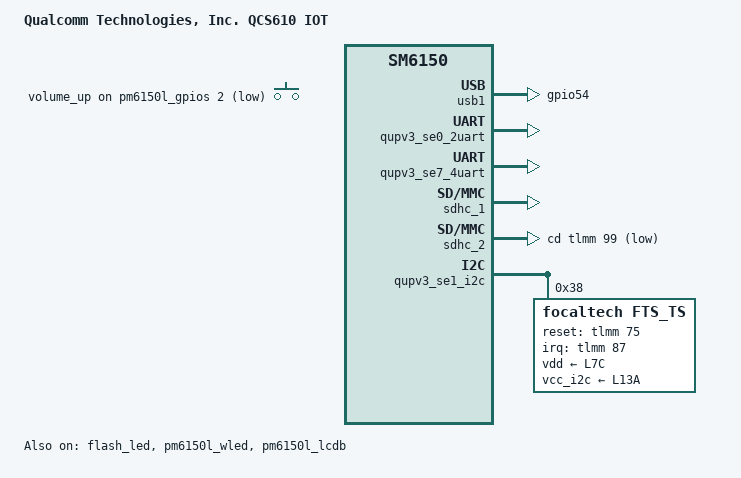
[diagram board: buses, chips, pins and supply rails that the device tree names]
#include <dt-bindings/gpio/gpio.h>
#include <dt-bindings/iio/qcom,spmi-vadc.h>
#include <dt-bindings/input/input.h>

#include <dt-bindings/clock/qcom,rpmh.h>
#include <dt-bindings/clock/qcom,gcc-sm6150.h>
#include <dt-bindings/clock/qcom,camcc-sm6150.h>
#include <dt-bindings/clock/qcom,dispcc-sm6150.h>
#include <dt-bindings/clock/qcom,gpucc-sm6150.h>
#include <dt-bindings/iio/qti_power_supply_iio.h>

#include "camera/qcs610-camera-sensor-idp.dtsi"

#include "sm6150-audio.dtsi"
#include "sm6150-ext-codec-audio-overlay.dtsi"
#include "sm6150-external-codec.dtsi"

/ {
	model = "Qualcomm Technologies, Inc. QCS610 IOT";
	compatible = "qcom,qcs610-iot", "qcom,qcs610", "qcom,iot";
	qcom,board-id = <32 0>;
};

&pm6150l_gpios {
	key_vol_up {
		key_vol_up_default: key_vol_up_default {
			pins = "gpio2";
			function = "normal";
			input-enable;
			bias-pull-up;
			power-source = <0>;
		};
	};

	irled {
		irled_pwm: irled_pwm_default {
			pins = "gpio6";
			function = "func1";
			qcom,drive-strength = <2>;
			power-source = <0>;
			bias-disable;
			output-low;
		};
	};

	cam_sensor_dvdd_en: cam_sensor_dvdd_en {
		pins = "gpio3";
		function = "normal";
		power-source = <0>;
		output-low;
	};

	cam_sensor_0_vana: cam_sensor_0_vana {
		pins = "gpio9";
		function = "normal";
		power-source = <0>;
		output-low;
	};

	cam_sensor_1_2_vana: cam_sensor_1_2_vana {
		pins = "gpio4";
		function = "normal";
		power-source = <0>;
		output-low;
	};
};

&soc {
	gpio_keys {
		compatible = "gpio-keys";
		label = "gpio-keys";

		pinctrl-names = "default";
		pinctrl-0 = <&key_vol_up_default>;

		vol_up {
			label = "volume_up";
			gpios = <&pm6150l_gpios 2 GPIO_ACTIVE_LOW>;
			linux,input-type = <1>;
			linux,code = <KEY_VOLUMEUP>;
			linux,can-disable;
			debounce-interval = <15>;
			gpio-key,wakeup;
		};
	};

	mtp_batterydata: qcom,battery-data {
		qcom,batt-id-range-pct = <15>;
		#include "qg-batterydata-alium-3600mah.dtsi"
		#include "qg-batterydata-mlp356477-2800mah.dtsi"
	};
};

&tlmm {
	usb_typea_host {
		usb_typea_host_en: usb_typea_host_en {
			mux {
				pins = "gpio54";
				function = "gpio";
			};

			config {
				pins = "gpio54";
				drive-strength = <2>;
				bias-disable;
				output-high;
			};
		};
	};
};


&flash_led {
	status = "ok";
};

&pm6150l_wled {
	qcom,string-cfg= <1>;
	qcom,leds-per-string = <7>;
	status = "ok";
	qcom,cabc-sel = <0>;
	qcom,fs-current-limit = <20000>;
	default-brightness = <2000>;
};

&pm6150l_lcdb {
	status = "ok";
};

&pm6150l_pwm_1 {
	status = "disabled";
};

&usb1 {
	status = "okay";
	pinctrl-names = "default";
	pinctrl-0 = <&usb_typea_host_en>;
};

&pm6150_qg {
	qcom,qg-iterm-ma = <100>;
	qcom,hold-soc-while-full;
	qcom,linearize-soc;
	qcom,cl-feedback-on;
};

&pm6150_pdphy {
	#io-channel-cells = <1>;
	io-channels = <&pm6150_charger PSY_IIO_PD_ACTIVE>,
		      <&pm6150_charger PSY_IIO_TYPEC_CC_ORIENTATION>,
		      <&pm6150_charger PSY_IIO_CONNECTOR_TYPE>,
		      <&pm6150_charger PSY_IIO_TYPEC_POWER_ROLE>,
		      <&pm6150_charger PSY_IIO_PD_USB_SUSPEND_SUPPORTED>,
		      <&pm6150_charger PSY_IIO_TYPEC_SRC_RP>,
		      <&pm6150_charger PSY_IIO_PD_IN_HARD_RESET>,
		      <&pm6150_charger PSY_IIO_PD_CURRENT_MAX>,
		      <&pm6150_charger PSY_IIO_PR_SWAP>,
		      <&pm6150_charger PSY_IIO_PD_VOLTAGE_MIN>,
		      <&pm6150_charger PSY_IIO_PD_VOLTAGE_MAX>,
		      <&pm6150_charger PSY_IIO_USB_REAL_TYPE>,
		      <&pm6150_charger PSY_IIO_TYPEC_MODE>,
		      <&pm6150_charger PSY_IIO_PE_START>;
	io-channel-names = "pd_active",
			   "typec_cc_orientation",
			   "connector_type",
			   "typec_power_role",
			   "pd_usb_suspend_supported",
			   "typec_src_rp",
			   "pd_in_hard_reset",
			   "pr_current_max",
			   "pr_swap",
			   "pd_voltage_min",
			   "pd_voltage_max",
			   "real_type",
			   "typec_mode",
			   "pe_start";
};

&pm6150_charger {
	depends-on-supply = <&pm6150_vadc>;
	#io-channel-cells = <1>;
	io-channels = <&pm6150_vadc ADC5_USB_IN_V_16>,
		      <&pm6150_vadc ADC5_USB_IN_I>,
		      <&pm6150_vadc ADC5_CHG_TEMP>,
		      <&pm6150_vadc ADC5_DIE_TEMP>,
		      <&pm6150_vadc ADC5_AMUX_THM4_100K_PU>,
		      <&pm6150_vadc ADC5_SBUx>,
		      <&pm6150_vadc ADC5_VPH_PWR>,
		      <&pm6150_qg PSY_IIO_RESISTANCE_ID>,
		      <&pm6150_qg PSY_IIO_VOLTAGE_NOW>,
		      <&pm6150_qg PSY_IIO_TEMP>,
		      <&pm6150_qg PSY_IIO_CAPACITY>,
		      <&pm6150_qg PSY_IIO_VOLTAGE_OCV>,
		      <&pm6150_qg PSY_IIO_VOLTAGE_AVG>,
		      <&pm6150_qg PSY_IIO_DEBUG_BATTERY>,
		      <&pm6150_qg PSY_IIO_REAL_CAPACITY>,
		      <&pm6150_qg PSY_IIO_CC_SOC>,
		      <&pm6150_qg PSY_IIO_CURRENT_NOW>,
		      <&pm6150_qg PSY_IIO_VOLTAGE_MAX>,
		      <&pm6150_qg PSY_IIO_CHARGE_COUNTER>,
		      <&pm6150_qg PSY_IIO_CYCLE_COUNT>,
		      <&pm6150_qg PSY_IIO_TIME_TO_FULL_NOW>;
	io-channel-names = "usb_in_voltage",
			   "usb_in_current",
			   "chg_temp",
			   "die_temp",
			   "conn_temp",
			   "sbux_res",
			   "vph_voltage",
			   "resistance_id",
			   "voltage_now",
			   "temp",
			   "capacity",
			   "voltage_ocv",
			   "voltage_avg",
			   "debug_battery",
			   "real_capacity",
			   "cc_soc",
			   "current_now",
			   "voltage_max",
			   "charge_counter",
			   "cycle_count",
			   "time_to_full_now";
	qcom,batteryless-platform;
	qcom,auto-recharge-soc = <98>;
	qcom,step-charging-enable;
	qcom,sw-jeita-enable;
	qcom,fcc-stepping-enable;
	qcom,suspend-input-on-debug-batt;
	qcom,sec-charger-config = <0>;
	qcom,thermal-mitigation = <4200000 3500000 3000000
			2500000 2000000 1500000 1000000 500000>;
	dpdm-supply = <&qusb_phy0>;
	qcom,charger-temp-max = <800>;
	qcom,smb-temp-max = <800>;
};

&usb0 {
	qcom,interconnect-values-nom = /* NOMINAL Votes */
						<1000000 2500000>,
						<0 2400>,
						<0 40000>;
	qcom,interconnect-values-svs = /* SVS Votes */
						<240000 700000>,
						<0 2400>,
						<0 40000>;
	extcon = <&pm6150_pdphy>, <&pm6150_charger>, <&eud>;

	#io-channel-cells = <1>;
	io-channels= <&pm6150_charger PSY_IIO_USB_REAL_TYPE>;
	io-channel-names = "chg_type";
};

&qupv3_se0_2uart {
	status = "ok";
};

&qupv3_se7_4uart {
	status = "ok";
};

&pil_camera_mem {
	reg = <0x0 0x8f800000 0x0 0x500000>;
};

&pil_modem_mem {
	reg = <0x0 0x8fd00000 0x0 0x3100000>;
};

&msm_gpu {
	/delete-node/qcom,gpu-mempools;
};

&sdhc_1 {
	vdd-supply = <&pm6150l_l11>;
	qcom,vdd-voltage-level = <2950000 2950000>;
	qcom,vdd-current-level = <0 570000>;

	vdd-io-supply = <&pm6150_l12>;
	qcom,vdd-io-always-on;
	qcom,vdd-io-lpm-sup;
	qcom,vdd-io-voltage-level = <1800000 1800000>;
	qcom,vdd-io-current-level = <0 325000>;

	pinctrl-names = "default", "sleep";
	pinctrl-0 = <&sdc1_on>;
	pinctrl-1 = <&sdc1_off>;

	status = "ok";
};

&sdhc_2 {
	vdd-supply = <&pm6150l_l9>;
	qcom,vdd-voltage-level = <2950000 2950000>;
	qcom,vdd-current-level = <0 800000>;

	vdd-io-supply = <&pm6150l_l6>;
	qcom,vdd-io-voltage-level = <1800000 3100000>;
	qcom,vdd-io-current-level = <0 22000>;

	pinctrl-names = "default", "sleep";
	pinctrl-0 = <&sdc2_on>;
	pinctrl-1 = <&sdc2_off>;

	cd-gpios = <&tlmm 99 GPIO_ACTIVE_LOW>;

	status = "ok";
};

&L16A {
	regulator-max-microvolt = <3304000>;
};

&L19A {
	regulator-max-microvolt = <3304000>;
};

&L4C {
	regulator-max-microvolt = <2912000>;
};

&L5C {
	regulator-max-microvolt = <2912000>;
};

&L13A {
	regulator-always-on;
};

&L7C {
	regulator-always-on;
};

&L10A {
	regulator-always-on;
};

&L14A {
	regulator-always-on;
};

&sde_dp {
	status="disabled";
};

&mdss_mdp {
	connectors = <&smmu_sde_unsec &sde_dsi &sde_rscc>;
};

&dsi_ili9881c_720p_video {
	qcom,panel-supply-entries = <&dsi_panel_pwr_supply>;
	qcom,mdss-dsi-bl-pmic-control-type = "bl_ctrl_wled";
	qcom,mdss-dsi-bl-min-level = <1>;
	qcom,mdss-dsi-bl-max-level = <4095>;
	qcom,platform-reset-gpio = <&tlmm 91 0>;
};

&ts_int_active {
	mux {
		pins = "gpio87";
	};

	config {
		pins = "gpio87";
	};
};

&ts_int_suspend {
	mux {
		pins = "gpio87";
	};

	config {
		pins = "gpio87";
	};
};

&ts_reset_active {
	mux {
		pins = "gpio75";
	};

	config {
		pins = "gpio75";
	};
};

&ts_reset_suspend {
	mux {
		pins = "gpio75";
	};

	config {
		pins = "gpio75";
	};
};

&ts_release {
	mux {
		pins = "gpio87", "gpio75";
	};

	config {
		pins = "gpio87", "gpio75";
	};
};

&qupv3_se1_i2c {
	#address-cells = <1>;
	#size-cells = <0>;

	status = "ok";
	qcom,i2c-touch-active = "focaltech,fts_ts";

	focaltech@38 {
		compatible = "focaltech,fts_ts";
		reg = <0x38>;
		interrupt-parent = <&tlmm>;
		interrupts = <87 0x2008>;
		focaltech,reset-gpio = <&tlmm 75 0x0>;
		focaltech,irq-gpio = <&tlmm 87 0x2008>;
		focaltech,max-touch-number = <5>;
		focaltech,display-coords = <0 0 720 1280>;

		vdd-supply = <&L7C>;
		vcc_i2c-supply = <&L13A>;

		pinctrl-names = "pmx_ts_active", "pmx_ts_suspend",
			"pmx_ts_release";
		pinctrl-0 = <&ts_int_active &ts_reset_active>;
		pinctrl-1 = <&ts_int_suspend &ts_reset_suspend>;
		pinctrl-2 = <&ts_release>;

		panel = <&dsi_ili9881c_720p_video>;
	};
};
